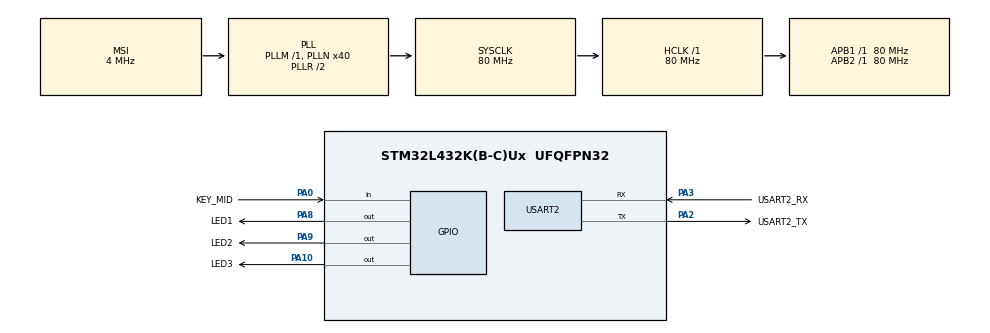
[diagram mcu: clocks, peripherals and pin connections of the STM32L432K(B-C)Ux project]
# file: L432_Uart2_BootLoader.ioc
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Mcu.Family=STM32L4
Mcu.Name=STM32L432K(B-C)Ux
Mcu.Package=UFQFPN32
NVIC.PriorityGroup=NVIC_PRIORITYGROUP_4
NVIC.USART2_IRQn=true\:0\:0\:false\:false\:true\:true
PA0.GPIO_Label=KEY_MID
PA0.GPIO_PuPd=GPIO_PULLUP
PA0.Signal=GPIO_Input
PA10.GPIO_Label=LED3
PA10.PinState=GPIO_PIN_SET
PA10.Signal=GPIO_Output
PA13\ (JTMS-SWDIO).Mode=Serial_Wire
PA13\ (JTMS-SWDIO).Signal=SYS_JTMS-SWDIO
PA14\ (JTCK-SWCLK).Mode=Serial_Wire
PA14\ (JTCK-SWCLK).Signal=SYS_JTCK-SWCLK
PA2.GPIO_Label=USART2_TX
PA2.Mode=Asynchronous
PA2.Signal=USART2_TX
PA3.GPIO_Label=USART2_RX
PA3.Mode=Asynchronous
PA3.Signal=USART2_RX
PA8.GPIO_Label=LED1
PA8.PinState=GPIO_PIN_SET
PA8.Signal=GPIO_Output
PA9.GPIO_Label=LED2
PA9.PinState=GPIO_PIN_SET
PA9.Signal=GPIO_Output
PC14-OSC32_IN\ (PC14).Mode=LSE-External-Oscillator
PC14-OSC32_IN\ (PC14).Signal=RCC_OSC32_IN
PC15-OSC32_OUT\ (PC15).Mode=LSE-External-Oscillator
PC15-OSC32_OUT\ (PC15).Signal=RCC_OSC32_OUT
ProjectManager.HeapSize=0x200
ProjectManager.StackSize=0x400
ProjectManager.TargetToolchain=EWARM V8
RCC.AHBFreq_Value=80000000
RCC.APB1Freq_Value=80000000
RCC.APB1TimFreq_Value=80000000
RCC.APB2Freq_Value=80000000
RCC.APB2TimFreq_Value=80000000
RCC.CortexFreq_Value=80000000
RCC.HCLKFreq_Value=80000000
RCC.HSE_VALUE=8000000
RCC.HSI48_VALUE=48000000
RCC.HSI_VALUE=16000000
RCC.MSI_VALUE=4000000
RCC.PLLN=40
RCC.SYSCLKFreq_VALUE=80000000
RCC.SYSCLKSource=RCC_SYSCLKSOURCE_PLLCLK
RCC.VCOOutputFreq_Value=160000000
USART2.VirtualMode-Asynchronous=VM_ASYNC
board=custom

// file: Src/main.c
/**
  ******************************************************************************
  * @file           : main.c
  * @brief          : Main program body
  ******************************************************************************
  ** This notice applies to any and all portions of this file
  * that are not between comment pairs USER CODE BEGIN and
  * USER CODE END. Other portions of this file, whether
  * inserted by the user or by software development tools
  * are owned by their respective copyright owners.
  *
  * COPYRIGHT(c) 2018 STMicroelectronics
  *
  * Redistribution and use in source and binary forms, with or without modification,
  * are permitted provided that the following conditions are met:
  *   1. Redistributions of source code must retain the above copyright notice,
  *      this list of conditions and the following disclaimer.
  *   2. Redistributions in binary form must reproduce the above copyright notice,
  *      this list of conditions and the following disclaimer in the documentation
  *      and/or other materials provided with the distribution.
  *   3. Neither the name of STMicroelectronics nor the names of its contributors
  *      may be used to endorse or promote products derived from this software
  *      without specific prior written permission.
  *
  * THIS SOFTWARE IS PROVIDED BY THE COPYRIGHT HOLDERS AND CONTRIBUTORS "AS IS"
  * AND ANY EXPRESS OR IMPLIED WARRANTIES, INCLUDING, BUT NOT LIMITED TO, THE
  * IMPLIED WARRANTIES OF MERCHANTABILITY AND FITNESS FOR A PARTICULAR PURPOSE ARE
  * DISCLAIMED. IN NO EVENT SHALL THE COPYRIGHT HOLDER OR CONTRIBUTORS BE LIABLE
  * FOR ANY DIRECT, INDIRECT, INCIDENTAL, SPECIAL, EXEMPLARY, OR CONSEQUENTIAL
  * DAMAGES (INCLUDING, BUT NOT LIMITED TO, PROCUREMENT OF SUBSTITUTE GOODS OR
  * SERVICES; LOSS OF USE, DATA, OR PROFITS; OR BUSINESS INTERRUPTION) HOWEVER
  * CAUSED AND ON ANY THEORY OF LIABILITY, WHETHER IN CONTRACT, STRICT LIABILITY,
  * OR TORT (INCLUDING NEGLIGENCE OR OTHERWISE) ARISING IN ANY WAY OUT OF THE USE
  * OF THIS SOFTWARE, EVEN IF ADVISED OF THE POSSIBILITY OF SUCH DAMAGE.
  *
  ******************************************************************************
  */
#include "main.h"
#include "stm32l4xx_hal.h"
#include "usart.h"
#include "gpio.h"

/* USER CODE BEGIN PV */
/* Private variables ---------------------------------------------------------*/

/* USER CODE END PV */

void SystemClock_Config(void);

/* USER CODE BEGIN PFP */
/* Private function prototypes -----------------------------------------------*/
void Show_Menu(void);

/* USER CODE END PFP */

int main(void)
{

  /* MCU Configuration----------------------------------------------------------*/

  /* Reset of all peripherals, Initializes the Flash interface and the Systick. */
  HAL_Init();

  /* Configure the system clock */
  SystemClock_Config();

  /* Initialize all configured peripherals */
  MX_GPIO_Init();
  MX_USART2_UART_Init();
  /* USER CODE BEGIN 2 */
  HAL_NVIC_EnableIRQ(USART2_IRQn);
  HAL_UART_Receive_IT(&huart2, UartRec, 1);
  Show_Menu();

  /* USER CODE END 2 */

  /* Infinite loop */
  while (1)
  {

  /* USER CODE BEGIN 3 */

#define WK_FLASH_SIZE           128                                         // flash大小（KB）
#define WK_FLASH_PAGE_SIZE      2                                           // 扇页大小（KB）
#define WK_FLASH_PAGE_NUM       (WK_FLASH_SIZE/WK_FLASH_PAGE_SIZE)                // 扇页数量

#define WK_FLASH_DATA_ADDR      (FLASH_BASE+(WK_FLASH_SIZE-WK_FLASH_PAGE_SIZE*8)*1024)  // 数据区的起始地址
#define WRITE_KB_NUM            16

      for (uint8_t i=0; i<5; i++)
      {
        HAL_GPIO_TogglePin(LED1_GPIO_Port, LED1_Pin);
        HAL_GPIO_TogglePin(LED2_GPIO_Port, LED2_Pin);
        HAL_Delay(1000);
      }

//    if (USART_RX_CNT == 1024*WRITE_KB_NUM-1)
    if (USART_RX_CNT >= 5659)
    {
        HAL_FLASH_Unlock(); // 解锁

        FLASH_EraseInitTypeDef f;

        f.TypeErase = FLASH_TYPEERASE_PAGES;
        f.Page = WK_FLASH_PAGE_NUM-WRITE_KB_NUM/WK_FLASH_PAGE_SIZE;       // 选择最后一个扇页
        f.NbPages = WRITE_KB_NUM/WK_FLASH_PAGE_SIZE;                      // 只擦除一页

        uint32_t PageError = 0;
        HAL_FLASHEx_Erase(&f, &PageError);  // 擦除

        uint64_t temp;
        for (uint32_t i=0; i<1024/8*WRITE_KB_NUM; i++)
        {
//            temp = (uint64_t)APP_DATA[i*8] + (uint64_t)APP_DATA[i*8+1]<<8 + (uint64_t)APP_DATA[i*8+2]<<16 + (uint64_t)APP_DATA[i*8+3]<<24;
            temp = 0;
            for (uint8_t j=0; j<8; j++)
            {
                temp += (uint64_t)APP_DATA[i*8+(7-j)] << (j*8);
            }
            HAL_FLASH_Program(FLASH_TYPEPROGRAM_DOUBLEWORD, WK_FLASH_DATA_ADDR+i*8, temp); // 写入
        }
        HAL_GPIO_TogglePin(LED2_GPIO_Port, LED2_Pin);
        HAL_GPIO_TogglePin(LED2_GPIO_Port, LED2_Pin);
        HAL_GPIO_TogglePin(LED2_GPIO_Port, LED2_Pin);
        HAL_FLASH_Lock();   // 锁住
        //////////////////////

        HAL_Delay(1000);

        typedef     void (*pFunction)(void);
        pFunction   Jump_To_Application;
        uint32_t    JumpAddress;
        #define     ApplicationAddress      0x0801C000

        if (((*(__IO uint32_t*)ApplicationAddress) & 0x2FFE0000 ) == 0x20000000)
        {
            JumpAddress = *(__IO uint32_t*) (ApplicationAddress + 4);
            Jump_To_Application = (pFunction) JumpAddress;
            HAL_GPIO_TogglePin(LED3_GPIO_Port, LED3_Pin);
            __set_MSP(*(__IO uint32_t*) ApplicationAddress);
            Jump_To_Application();
        }
        else
        {
            while (1)
            {
                HAL_GPIO_TogglePin(LED3_GPIO_Port, LED3_Pin);
                HAL_Delay(1000);
            }
        }
        ///////////////////
        return;
    }
//        typedef     void (*pFunction)(void);
//        pFunction   Jump_To_Application;
//        uint32_t    JumpAddress;
//        #define     ApplicationAddress      0x0801C000
//
//        if (((*(__IO uint32_t*)ApplicationAddress) & 0x2FFE0000 ) == 0x20000000)
//        {
//            JumpAddress = *(__IO uint32_t*) (ApplicationAddress + 4);
//            Jump_To_Application = (pFunction) JumpAddress;
//            HAL_GPIO_TogglePin(LED3_GPIO_Port, LED3_Pin);
//            __set_MSP(*(__IO uint32_t*) ApplicationAddress);
//            Jump_To_Application();
//        }
//        else
//        {
//            while (1)
//            {
//                HAL_GPIO_TogglePin(LED3_GPIO_Port, LED3_Pin);
//                HAL_Delay(1000);
//            }
//        }
  }
  /* USER CODE END 3 */

}

void SystemClock_Config(void)
{

  RCC_OscInitTypeDef RCC_OscInitStruct;
  RCC_ClkInitTypeDef RCC_ClkInitStruct;
  RCC_PeriphCLKInitTypeDef PeriphClkInit;

    /**Configure LSE Drive Capability
    */
  HAL_PWR_EnableBkUpAccess();

  __HAL_RCC_LSEDRIVE_CONFIG(RCC_LSEDRIVE_LOW);

    /**Initializes the CPU, AHB and APB busses clocks
    */
  RCC_OscInitStruct.OscillatorType = RCC_OSCILLATORTYPE_LSE|RCC_OSCILLATORTYPE_MSI;
  RCC_OscInitStruct.LSEState = RCC_LSE_ON;
  RCC_OscInitStruct.MSIState = RCC_MSI_ON;
  RCC_OscInitStruct.MSICalibrationValue = 0;
  RCC_OscInitStruct.MSIClockRange = RCC_MSIRANGE_6;
  RCC_OscInitStruct.PLL.PLLState = RCC_PLL_ON;
  RCC_OscInitStruct.PLL.PLLSource = RCC_PLLSOURCE_MSI;
  RCC_OscInitStruct.PLL.PLLM = 1;
  RCC_OscInitStruct.PLL.PLLN = 40;
  RCC_OscInitStruct.PLL.PLLP = RCC_PLLP_DIV7;
  RCC_OscInitStruct.PLL.PLLQ = RCC_PLLQ_DIV2;
  RCC_OscInitStruct.PLL.PLLR = RCC_PLLR_DIV2;
  if (HAL_RCC_OscConfig(&RCC_OscInitStruct) != HAL_OK)
  {
    _Error_Handler(__FILE__, __LINE__);
  }

    /**Initializes the CPU, AHB and APB busses clocks
    */
  RCC_ClkInitStruct.ClockType = RCC_CLOCKTYPE_HCLK|RCC_CLOCKTYPE_SYSCLK
                              |RCC_CLOCKTYPE_PCLK1|RCC_CLOCKTYPE_PCLK2;
  RCC_ClkInitStruct.SYSCLKSource = RCC_SYSCLKSOURCE_PLLCLK;
  RCC_ClkInitStruct.AHBCLKDivider = RCC_SYSCLK_DIV1;
  RCC_ClkInitStruct.APB1CLKDivider = RCC_HCLK_DIV1;
  RCC_ClkInitStruct.APB2CLKDivider = RCC_HCLK_DIV1;

  if (HAL_RCC_ClockConfig(&RCC_ClkInitStruct, FLASH_LATENCY_4) != HAL_OK)
  {
    _Error_Handler(__FILE__, __LINE__);
  }

  PeriphClkInit.PeriphClockSelection = RCC_PERIPHCLK_USART2;
  PeriphClkInit.Usart2ClockSelection = RCC_USART2CLKSOURCE_PCLK1;
  if (HAL_RCCEx_PeriphCLKConfig(&PeriphClkInit) != HAL_OK)
  {
    _Error_Handler(__FILE__, __LINE__);
  }

    /**Configure the main internal regulator output voltage
    */
  if (HAL_PWREx_ControlVoltageScaling(PWR_REGULATOR_VOLTAGE_SCALE1) != HAL_OK)
  {
    _Error_Handler(__FILE__, __LINE__);
  }

    /**Configure the Systick interrupt time
    */
  HAL_SYSTICK_Config(HAL_RCC_GetHCLKFreq()/1000);

    /**Configure the Systick
    */
  HAL_SYSTICK_CLKSourceConfig(SYSTICK_CLKSOURCE_HCLK);

    /**Enable MSI Auto calibration
    */
  HAL_RCCEx_EnableMSIPLLMode();

  /* SysTick_IRQn interrupt configuration */
  HAL_NVIC_SetPriority(SysTick_IRQn, 0, 0);
}

/* USER CODE BEGIN 4 */

void Show_Menu(void)
{
      printf("\r\n——————串口下载-----------\r\n");
      printf("|                            |\r\n");
      printf("|  1、准备下载               |\r\n");
      printf("|  2、跳转至新程序           |\r\n");
      printf("|  3、设置为直接跳转至程序   |\r\n");
      printf("|                            |\r\n");
      printf("------------------------------\r\n\r\n");
}
/* USER CODE END 4 */

void _Error_Handler(char *file, int line)
{
  while(1)
  {
  }
}

/************************ (C) COPYRIGHT STMicroelectronics *****END OF FILE****/
